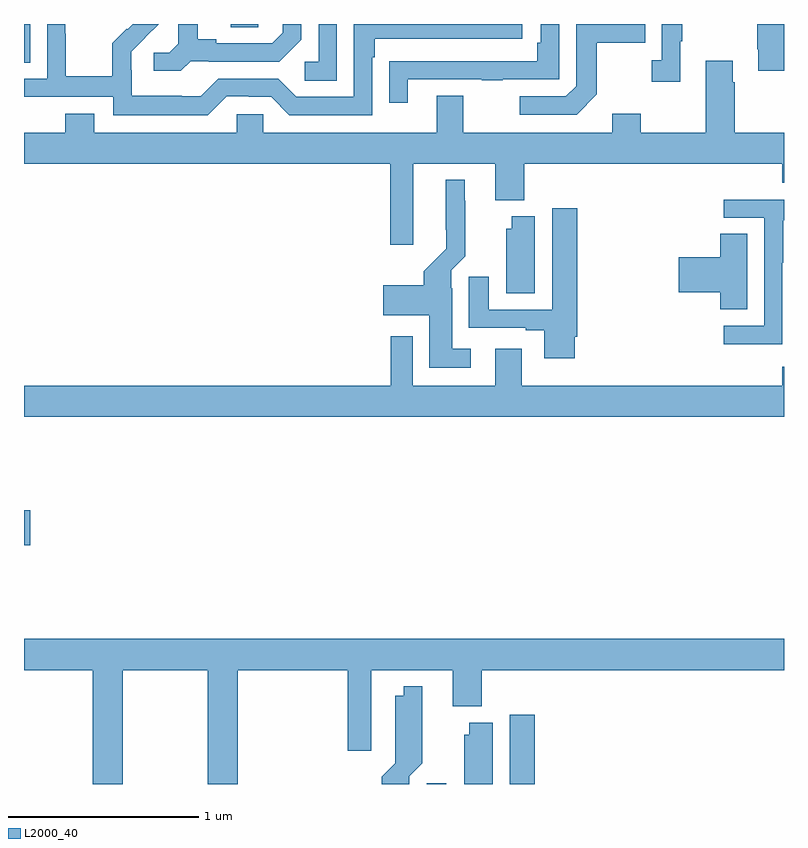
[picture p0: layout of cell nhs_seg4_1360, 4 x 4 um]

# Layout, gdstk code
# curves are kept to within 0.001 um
import gdstk
lib = gdstk.Library(unit=1e-6, precision=1e-09)
def R(c, l, rs):  # rectangles x0, y0, x1, y1
    for r in rs: c.add(gdstk.rectangle(r[:2], r[2:], *l))
def P(c, l, *ps):  # polygons
    for p in ps: c.add(gdstk.Polygon(p, *l))
L2000_40 = (2000, 40)

nhs_seg4_1360 = lib.new_cell('nhs_seg4_1360')
R(nhs_seg4_1360, L2000_40, [(183.119,782.9,183.223,782.905), (183.557,782.9,183.689,783.265), (181,784.157,181.033,784.34), (181,786.697,181.033,786.9), (182.087,786.883,182.232,786.9)])
P(nhs_seg4_1360, L2000_40, [(182.067,786.519),(182.183,786.519),(182.183,786.516),(182.301,786.516),(182.397,786.42),(182.832,786.42),(182.832,786.725),(182.845,786.725),(182.845,786.822),(183.622,786.822),(183.622,786.9),(182.736,786.9),(182.736,786.516),(182.433,786.516),(182.337,786.612),(182.022,786.612),(181.929,786.519),(181.829,786.519),(181.829,786.523),(181.566,786.523),(181.566,786.657),(181.564,786.657),(181.564,786.754),(181.708,786.9),(181.572,786.9),(181.545,786.873),(181.542,786.876),(181.465,786.799),(181.465,786.625),(181.221,786.625),(181.221,786.848),(181.218,786.848),(181.218,786.9),(181.122,786.9),(181.122,786.612),(181,786.612),(181,786.516),(181.47,786.516),(181.47,786.419),(181.967,786.419)],
  [(183.019,786.609),(183.409,786.609),(183.409,786.604),(183.521,786.604),(183.521,786.609),(183.816,786.609),(183.816,786.9),(183.72,786.9),(183.72,786.802),(183.7,786.802),(183.7,786.705),(183.025,786.705),(183.025,786.704),(182.923,786.704),(182.923,786.486),(183.019,786.486)],
  [(184.453,786.809),(184.465,786.809),(184.465,786.9),(184.356,786.9),(184.356,786.71),(184.305,786.71),(184.305,786.597),(184.453,786.597)],
  [(185,786.9),(184.858,786.9),(184.858,786.766),(184.865,786.766),(184.865,786.654),(185,786.654)],
  [(181.878,786.705),(181.972,786.705),(181.972,786.702),(182.344,786.702),(182.46,786.818),(182.46,786.9),(182.363,786.9),(182.363,786.855),(182.306,786.798),(182.011,786.798),(182.011,786.821),(181.915,786.821),(181.915,786.9),(181.811,786.9),(181.811,786.797),(181.764,786.75),(181.683,786.75),(181.683,786.653),(181.826,786.653)],
  [(184.015,786.529),(184.015,786.802),(184.271,786.802),(184.271,786.9),(183.906,786.9),(183.906,786.573),(183.852,786.519),(183.609,786.519),(183.609,786.423),(183.909,786.423)],
  [(182.646,786.9),(182.55,786.9),(182.55,786.702),(182.478,786.702),(182.478,786.601),(182.646,786.601)],
  [(183.313,786.523),(183.173,786.523),(183.173,786.328),(182.259,786.328),(182.259,786.426),(182.121,786.426),(182.121,786.328),(181.369,786.328),(181.369,786.427),(181.217,786.427),(181.217,786.328),(181,786.328),(181,786.164),(182.927,786.164),(182.927,785.739),(183.049,785.739),(183.049,786.164),(183.479,786.164),(183.479,785.972),(183.632,785.972),(183.632,786.164),(184.991,786.164),(184.991,786.065),(185,786.065),(185,786.328),(184.742,786.328),(184.742,786.593),(184.729,786.593),(184.729,786.706),(184.589,786.706),(184.589,786.328),(184.245,786.328),(184.245,786.427),(184.097,786.427),(184.097,786.328),(183.313,786.328)],
  [(183.352,785.191),(183.253,785.191),(183.253,785.51),(183.249,785.51),(183.249,785.604),(183.323,785.678),(183.323,785.969),(183.319,785.969),(183.319,786.079),(183.221,786.079),(183.222,785.716),(183.104,785.598),(183.104,785.524),(182.892,785.524),(182.892,785.366),(183.134,785.366),(183.134,785.09),(183.352,785.09)],
  [(184.992,785.644),(184.995,785.644),(184.995,785.868),(185,785.868),(185,785.976),(184.683,785.976),(184.683,785.88),(184.896,785.88),(184.896,785.313),(184.683,785.313),(184.683,785.215),(184.992,785.215)],
  [(183.898,785.254),(183.911,785.254),(183.911,785.929),(183.779,785.929),(183.779,785.397),(183.445,785.397),(183.445,785.569),(183.341,785.569),(183.341,785.301),(183.641,785.301),(183.641,785.289),(183.737,785.289),(183.737,785.142),(183.898,785.142)],
  [(183.688,785.887),(183.566,785.887),(183.566,785.823),(183.539,785.823),(183.539,785.482),(183.688,785.482)],
  [(184.807,785.795),(184.664,785.795),(184.664,785.672),(184.446,785.672),(184.446,785.489),(184.664,785.489),(184.664,785.398),(184.807,785.398)],
  [(185,785.095),(184.991,785.095),(184.991,784.996),(183.619,784.996),(183.619,785.191),(183.479,785.191),(183.479,784.996),(183.045,784.996),(183.045,785.257),(182.929,785.257),(182.929,784.996),(181,784.996),(181,784.832),(185,784.832)],
  [(181.521,783.5),(181.966,783.5),(181.966,782.9),(182.126,782.9),(182.126,783.5),(182.705,783.5),(182.705,783.075),(182.827,783.075),(182.827,783.5),(183.257,783.5),(183.257,783.308),(183.41,783.308),(183.41,783.5),(185,783.5),(185,783.664),(181,783.664),(181,783.5),(181.361,783.5),(181.361,782.9),(181.521,782.9)],
  [(183.027,782.94),(183.097,783.01),(183.097,783.112),(183.096,783.112),(183.096,783.415),(182.999,783.415),(182.999,783.364),(182.954,783.364),(182.954,783.01),(182.882,782.938),(182.882,782.9),(183.027,782.9)],
  [(183.466,783.223),(183.344,783.223),(183.344,783.159),(183.317,783.159),(183.317,782.9),(183.466,782.9)])

lib.write_gds('nhs_seg4_1360.gds')
